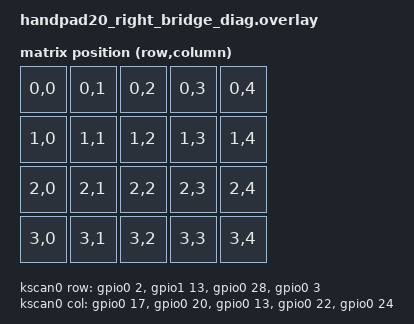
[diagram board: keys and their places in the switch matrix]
#include <dt-bindings/zmk/matrix_transform.h>

/ {
    chosen {
        zmk,kscan = &kscan0;
        zmk,matrix_transform = &default_transform;
    };

    /*
     * Right passive PCB diagnostic.
     *
     * Physical wiring:
     *   controller COL7  -> passive COL12
     *   controller COL8  -> passive COL13
     *   controller COL9  -> passive COL14
     *   controller COL10 -> passive COL15
     *   controller COL11 -> passive COL16
     *   controller ROW1..ROW4 -> passive ROW1..ROW4
     */
    kscan0: kscan {
        compatible = "zmk,kscan-gpio-matrix";
        label = "KSCAN";

        diode-direction = "col2row";

        col-gpios = <&gpio0 17 GPIO_ACTIVE_HIGH>, /* COL7  */
                    <&gpio0 20 GPIO_ACTIVE_HIGH>, /* COL8  */
                    <&gpio0 13 GPIO_ACTIVE_HIGH>, /* COL9  */
                    <&gpio0 22 GPIO_ACTIVE_HIGH>, /* COL10 */
                    <&gpio0 24 GPIO_ACTIVE_HIGH>; /* COL11 */

        row-gpios = <&gpio0 2 (GPIO_ACTIVE_HIGH | GPIO_PULL_DOWN)>,  /* ROW1 */
                    <&gpio1 13 (GPIO_ACTIVE_HIGH | GPIO_PULL_DOWN)>, /* ROW2 */
                    <&gpio0 28 (GPIO_ACTIVE_HIGH | GPIO_PULL_DOWN)>, /* ROW3 */
                    <&gpio0 3 (GPIO_ACTIVE_HIGH | GPIO_PULL_DOWN)>;  /* ROW4 */
    };

    default_transform: keymap_transform0 {
        compatible = "zmk,matrix-transform";
        columns = <5>;
        rows = <4>;

        map = <
            RC(0,0) RC(0,1) RC(0,2) RC(0,3) RC(0,4)
            RC(1,0) RC(1,1) RC(1,2) RC(1,3) RC(1,4)
            RC(2,0) RC(2,1) RC(2,2) RC(2,3) RC(2,4)
            RC(3,0) RC(3,1) RC(3,2) RC(3,3) RC(3,4)
        >;
    };
};
